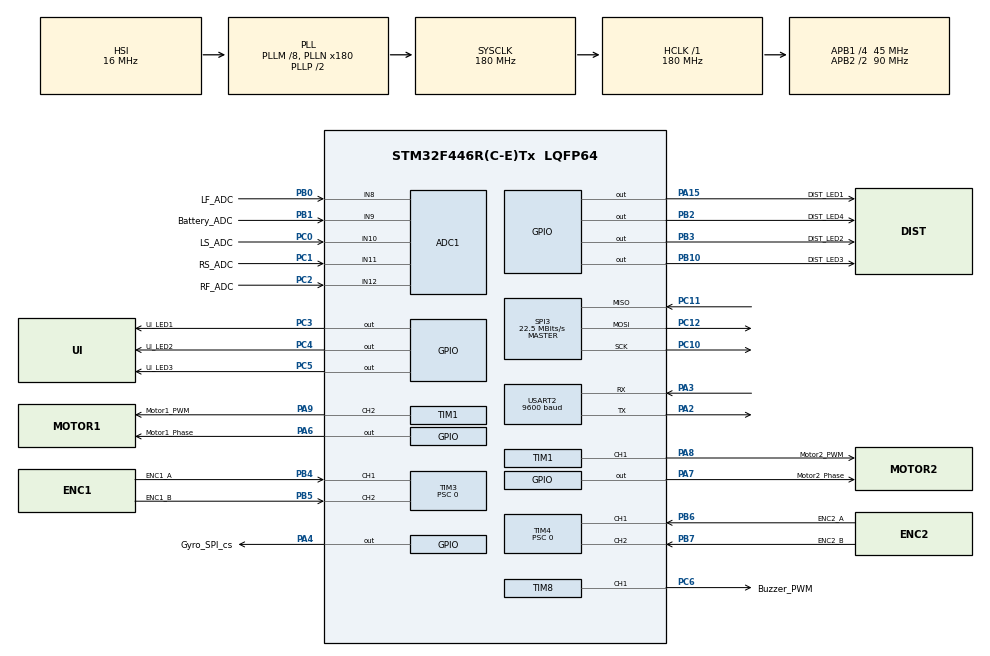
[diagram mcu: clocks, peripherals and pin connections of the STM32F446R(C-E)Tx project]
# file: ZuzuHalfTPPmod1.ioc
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ADC1.Channel-1\#ChannelRegularConversion=ADC_CHANNEL_8
ADC1.Channel-10\#ChannelRegularConversion=ADC_CHANNEL_10
ADC1.Channel-11\#ChannelRegularConversion=ADC_CHANNEL_11
ADC1.Channel-12\#ChannelRegularConversion=ADC_CHANNEL_12
ADC1.Channel-15\#ChannelRegularConversion=ADC_CHANNEL_9
ADC1.ClockPrescaler=ADC_CLOCK_SYNC_PCLK_DIV4
ADC1.ContinuousConvMode=ENABLE
ADC1.DMAContinuousRequests=ENABLE
ADC1.DiscontinuousConvMode=DISABLE
ADC1.EOCSelection=ADC_EOC_SEQ_CONV
ADC1.EnableAnalogWatchDog=false
ADC1.ExternalTrigConv=ADC_SOFTWARE_START
ADC1.InjNumberOfConversion=0
ADC1.NbrOfConversion=5
ADC1.NbrOfConversionFlag=1
ADC1.Rank-1\#ChannelRegularConversion=1
ADC1.Rank-10\#ChannelRegularConversion=2
ADC1.Rank-11\#ChannelRegularConversion=3
ADC1.Rank-12\#ChannelRegularConversion=4
ADC1.Rank-15\#ChannelRegularConversion=5
ADC1.SamplingTime-1\#ChannelRegularConversion=ADC_SAMPLETIME_15CYCLES
ADC1.SamplingTime-10\#ChannelRegularConversion=ADC_SAMPLETIME_15CYCLES
ADC1.SamplingTime-11\#ChannelRegularConversion=ADC_SAMPLETIME_15CYCLES
ADC1.SamplingTime-12\#ChannelRegularConversion=ADC_SAMPLETIME_15CYCLES
ADC1.SamplingTime-15\#ChannelRegularConversion=ADC_SAMPLETIME_15CYCLES
ADC1.ScanConvMode=ENABLE
ADC1.master=1
Dma.ADC1.0.Direction=DMA_PERIPH_TO_MEMORY
Dma.ADC1.0.FIFOMode=DMA_FIFOMODE_DISABLE
Dma.ADC1.0.Instance=DMA2_Stream0
Dma.ADC1.0.MemDataAlignment=DMA_MDATAALIGN_HALFWORD
Dma.ADC1.0.MemInc=DMA_MINC_ENABLE
Dma.ADC1.0.Mode=DMA_CIRCULAR
Dma.ADC1.0.PeriphDataAlignment=DMA_PDATAALIGN_HALFWORD
Dma.ADC1.0.PeriphInc=DMA_PINC_DISABLE
Dma.ADC1.0.Priority=DMA_PRIORITY_MEDIUM
Dma.Request0=ADC1
Dma.Request1=SPI3_RX
Dma.SPI3_RX.1.Direction=DMA_PERIPH_TO_MEMORY
Dma.SPI3_RX.1.FIFOMode=DMA_FIFOMODE_DISABLE
Dma.SPI3_RX.1.Instance=DMA1_Stream0
Dma.SPI3_RX.1.MemDataAlignment=DMA_MDATAALIGN_BYTE
Dma.SPI3_RX.1.MemInc=DMA_MINC_ENABLE
Dma.SPI3_RX.1.Mode=DMA_NORMAL
Dma.SPI3_RX.1.PeriphDataAlignment=DMA_PDATAALIGN_BYTE
Dma.SPI3_RX.1.PeriphInc=DMA_PINC_DISABLE
Dma.SPI3_RX.1.Priority=DMA_PRIORITY_LOW
Mcu.Family=STM32F4
Mcu.Name=STM32F446R(C-E)Tx
Mcu.Package=LQFP64
NVIC.ADC_IRQn=true\:0\:0\:false\:false\:true\:true\:true
NVIC.DMA1_Stream0_IRQn=true\:0\:0\:false\:false\:true\:false\:true
NVIC.DMA2_Stream0_IRQn=true\:0\:0\:false\:false\:true\:false\:true
NVIC.PriorityGroup=NVIC_PRIORITYGROUP_4
NVIC.SPI3_IRQn=true\:0\:0\:false\:false\:true\:true\:true
NVIC.TIM1_BRK_TIM9_IRQn=true\:0\:0\:false\:false\:true\:true\:true
NVIC.TIM1_CC_IRQn=true\:0\:0\:false\:false\:true\:true\:true
NVIC.TIM1_TRG_COM_TIM11_IRQn=true\:0\:0\:false\:false\:true\:true\:true
NVIC.TIM1_UP_TIM10_IRQn=true\:0\:0\:false\:false\:true\:true\:true
NVIC.TIM6_DAC_IRQn=true\:0\:0\:false\:false\:true\:true\:true
NVIC.TIM7_IRQn=true\:0\:0\:false\:false\:true\:true\:true
NVIC.TIM8_UP_TIM13_IRQn=true\:0\:0\:false\:false\:true\:true\:true
NVIC.USART2_IRQn=true\:0\:0\:false\:false\:true\:true\:true
PA13.Signal=SYS_JTMS-SWDIO
PA14.Signal=SYS_JTCK-SWCLK
PA15.GPIO_Label=DIST_LED1
PA15.Signal=GPIO_Output
PA2.GPIO_Speed=GPIO_SPEED_FREQ_VERY_HIGH
PA2.Mode=Asynchronous
PA2.Signal=USART2_TX
PA3.GPIO_Speed=GPIO_SPEED_FREQ_VERY_HIGH
PA3.Mode=Asynchronous
PA3.Signal=USART2_RX
PA4.GPIO_Label=Gyro_SPI_cs
PA4.Signal=GPIO_Output
PA6.GPIO_Label=Motor1_Phase
PA6.GPIO_Speed=GPIO_SPEED_FREQ_LOW
PA6.Signal=GPIO_Output
PA7.GPIO_Label=Motor2_Phase
PA7.GPIO_Speed=GPIO_SPEED_FREQ_LOW
PA7.Signal=GPIO_Output
PA8.GPIO_Label=Motor2_PWM
PA8.GPIO_Speed=GPIO_SPEED_FREQ_VERY_HIGH
PA8.Signal=S_TIM1_CH1
PA9.GPIO_Label=Motor1_PWM
PA9.GPIO_Speed=GPIO_SPEED_FREQ_VERY_HIGH
PA9.Signal=S_TIM1_CH2
PB0.GPIO_Label=LF_ADC
PB0.GPIO_Mode=GPIO_MODE_ANALOG
PB0.Signal=ADCx_IN8
PB1.GPIO_Label=Battery_ADC
PB1.GPIO_Mode=GPIO_MODE_ANALOG
PB1.GPIO_PuPd=GPIO_NOPULL
PB1.Signal=ADCx_IN9
PB10.GPIO_Label=DIST_LED3
PB10.Signal=GPIO_Output
PB2.GPIO_Label=DIST_LED4
PB2.Signal=GPIO_Output
PB3.GPIO_Label=DIST_LED2
PB3.Signal=GPIO_Output
PB4.GPIO_Label=ENC1_A
PB4.Signal=S_TIM3_CH1
PB5.GPIO_Label=ENC1_B
PB5.Signal=S_TIM3_CH2
PB6.GPIO_Label=ENC2_A
PB6.Signal=S_TIM4_CH1
PB7.GPIO_Label=ENC2_B
PB7.Signal=S_TIM4_CH2
PC0.GPIO_Label=LS_ADC
PC0.GPIO_Mode=GPIO_MODE_ANALOG
PC0.Signal=ADCx_IN10
PC1.GPIO_Label=RS_ADC
PC1.GPIO_Mode=GPIO_MODE_ANALOG
PC1.Signal=ADCx_IN11
PC10.GPIO_Speed=GPIO_SPEED_FREQ_VERY_HIGH
PC10.Mode=Full_Duplex_Master
PC10.Signal=SPI3_SCK
PC11.GPIO_Speed=GPIO_SPEED_FREQ_VERY_HIGH
PC11.Mode=Full_Duplex_Master
PC11.Signal=SPI3_MISO
PC12.Mode=Full_Duplex_Master
PC12.Signal=SPI3_MOSI
PC2.GPIO_Label=RF_ADC
PC2.GPIO_Mode=GPIO_MODE_ANALOG
PC2.Signal=ADCx_IN12
PC3.GPIO_Label=UI_LED1
PC3.GPIO_Speed=GPIO_SPEED_FREQ_LOW
PC3.Signal=GPIO_Output
PC4.GPIO_Label=UI_LED2
PC4.GPIO_Speed=GPIO_SPEED_FREQ_LOW
PC4.Signal=GPIO_Output
PC5.GPIO_Label=UI_LED3
PC5.GPIO_PuPd=GPIO_NOPULL
PC5.GPIO_Speed=GPIO_SPEED_FREQ_LOW
PC5.PinState=GPIO_PIN_RESET
PC5.Signal=GPIO_Output
PC6.GPIO_Label=Buzzer_PWM
PC6.Signal=S_TIM8_CH1
ProjectManager.HeapSize=0x200
ProjectManager.StackSize=0x400
ProjectManager.TargetToolchain=STM32CubeIDE
RCC.AHBFreq_Value=180000000
RCC.APB1CLKDivider=RCC_HCLK_DIV4
RCC.APB1Freq_Value=45000000
RCC.APB1TimFreq_Value=90000000
RCC.APB2CLKDivider=RCC_HCLK_DIV2
RCC.APB2Freq_Value=90000000
RCC.APB2TimFreq_Value=180000000
RCC.CortexFreq_Value=180000000
RCC.HCLKFreq_Value=180000000
RCC.PLLM=8
RCC.PLLN=180
RCC.SYSCLKFreq_VALUE=180000000
RCC.SYSCLKSource=RCC_SYSCLKSOURCE_PLLCLK
RCC.USBFreq_Value=180000000
RCC.VCOOutputFreq_Value=360000000
SH.ADCx_IN10.0=ADC1_IN10,IN10
SH.ADCx_IN11.0=ADC1_IN11,IN11
SH.ADCx_IN12.0=ADC1_IN12,IN12
SH.ADCx_IN8.0=ADC1_IN8,IN8
SH.ADCx_IN9.0=ADC1_IN9,IN9
SH.S_TIM1_CH1.0=TIM1_CH1,PWM Generation1 CH1
SH.S_TIM1_CH2.0=TIM1_CH2,PWM Generation2 CH2
SH.S_TIM3_CH1.0=TIM3_CH1,Encoder_Interface
SH.S_TIM3_CH2.0=TIM3_CH2,Encoder_Interface
SH.S_TIM4_CH1.0=TIM4_CH1,Encoder_Interface
SH.S_TIM4_CH2.0=TIM4_CH2,Encoder_Interface
SH.S_TIM8_CH1.0=TIM8_CH1,PWM Generation1 CH1
SPI3.CLKPhase=SPI_PHASE_1EDGE
SPI3.CLKPolarity=SPI_POLARITY_HIGH
SPI3.CRCCalculation=SPI_CRCCALCULATION_DISABLE
SPI3.CalculateBaudRate=22.5 MBits/s
SPI3.Direction=SPI_DIRECTION_2LINES
SPI3.Mode=SPI_MODE_MASTER
SPI3.VirtualType=VM_MASTER
STMicroelectronics.X-CUBE-ALGOBUILD.1.2.0.LibraryCcDSPOoLibraryJjDSPOoLibrary=true
TIM1.AutoReloadPreload=TIM_AUTORELOAD_PRELOAD_ENABLE
TIM1.Channel-PWM\ Generation1\ CH1=TIM_CHANNEL_1
TIM1.Channel-PWM\ Generation2\ CH2=TIM_CHANNEL_2
TIM1.Period=1000-1
TIM1.Prescaler=3-1
TIM1.Pulse-PWM\ Generation1\ CH1=100
TIM1.Pulse-PWM\ Generation2\ CH2=100
TIM1.TIM_MasterOutputTrigger=TIM_TRGO_RESET
TIM2.AutoReloadPreload=TIM_AUTORELOAD_PRELOAD_ENABLE
TIM2.Prescaler=90-1
TIM3.AutoReloadPreload=TIM_AUTORELOAD_PRELOAD_ENABLE
TIM3.EncoderMode=TIM_ENCODERMODE_TI12
TIM3.Period=65535
TIM3.Prescaler=0
TIM3.TIM_MasterOutputTrigger=TIM_TRGO_UPDATE
TIM4.AutoReloadPreload=TIM_AUTORELOAD_PRELOAD_ENABLE
TIM4.EncoderMode=TIM_ENCODERMODE_TI12
TIM4.Period=65535
TIM4.Prescaler=0
TIM4.TIM_MasterOutputTrigger=TIM_TRGO_UPDATE
TIM6.AutoReloadPreload=TIM_AUTORELOAD_PRELOAD_ENABLE
TIM6.Period=2000-1
TIM6.Prescaler=90-1
TIM6.TIM_MasterOutputTrigger=TIM_TRGO_UPDATE
TIM7.AutoReloadPreload=TIM_AUTORELOAD_PRELOAD_ENABLE
TIM7.Period=10000-1
TIM7.Prescaler=90-1
TIM7.TIM_MasterOutputTrigger=TIM_TRGO_UPDATE
TIM8.AutoReloadPreload=TIM_AUTORELOAD_PRELOAD_ENABLE
TIM8.Channel-PWM\ Generation1\ CH1=TIM_CHANNEL_1
TIM8.Period=2-1
TIM8.Prescaler=22500-1
TIM8.Pulse-PWM\ Generation1\ CH1=1
TIM8.TIM_MasterOutputTrigger=TIM_TRGO_UPDATE
USART2.BaudRate=9600
USART2.Mode=MODE_TX_RX
USART2.Parity=PARITY_NONE
USART2.VirtualMode=VM_ASYNC
USART2.WordLength=WORDLENGTH_8B
VP_TIM1_VS_ClockSourceINT.Mode=Internal
VP_TIM2_VS_ClockSourceINT.Mode=Internal
VP_TIM6_VS_ClockSourceINT.Mode=Enable_Timer
VP_TIM7_VS_ClockSourceINT.Mode=Enable_Timer
VP_TIM8_VS_ClockSourceINT.Mode=Internal
board=custom

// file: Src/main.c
/* USER CODE BEGIN Header */
/**
  ******************************************************************************
  * @file           : main.c
  * @brief          : Main program body
  ******************************************************************************
  * @attention
  *
  * <h2><center>&copy; Copyright (c) 2021 STMicroelectronics.
  * All rights reserved.</center></h2>
  *
  * This software component is licensed by ST under BSD 3-Clause license,
  * the "License"; You may not use this file except in compliance with the
  * License. You may obtain a copy of the License at:
  *                        opensource.org/licenses/BSD-3-Clause
  *
  ******************************************************************************
  */
/* USER CODE END Header */
#include "main.h"
#include "adc.h"
#include "dma.h"
#include "spi.h"
#include "tim.h"
#include "usart.h"
#include "gpio.h"

void SystemClock_Config(void);
/* USER CODE BEGIN PFP */
int __io_putchar(int ch);
/* USER CODE END PFP */

/* USER CODE BEGIN 0 */

/**
  * @brief  The application entry point.
  * @retval int
  */

int main(){
    HAL_Init(); //< Setup HAL.
    SystemClock_Config();  //< Micro-controller startup functions
    MX_USART2_UART_Init(); //< Setup Uart.
    setbuf(stdout, NULL);  //< This is needed for printf().

    MX_DMA_Init();
    MX_GPIO_Init();
    MX_TIM1_Init();
    MX_TIM2_Init();
    MX_TIM3_Init();
    MX_TIM4_Init();
    MX_TIM6_Init();
    MX_TIM7_Init();
    MX_TIM8_Init();
    MX_USART2_UART_Init();
    MX_SPI3_Init();
    MX_ADC1_Init();

//    HAL_Delay(2000);
    machineSelectMode();
//    selfEncoder();
//    machineRun(2000.0f, 1000.0f);
//    selfMotorOutput();
//    machineRunAndStop(50.0f, 600.0f, 100.0f);
//    machineTurn(100.0f, 500.0f);
//    machineRunSpecifiedDistance(2000.0f, 1000.0f, 90.0f);
//    selfEncoder();
//    selfMotorOutput();
//    testBatteryConsole();

    while(1) {
    }

    return 0;
}
/* USER CODE END 0 */

void SystemClock_Config(void)
{
  RCC_OscInitTypeDef RCC_OscInitStruct = {0};
  RCC_ClkInitTypeDef RCC_ClkInitStruct = {0};

  /** Configure the main internal regulator output voltage
  */
  __HAL_RCC_PWR_CLK_ENABLE();
  __HAL_PWR_VOLTAGESCALING_CONFIG(PWR_REGULATOR_VOLTAGE_SCALE1);
  /** Initializes the RCC Oscillators according to the specified parameters
  * in the RCC_OscInitTypeDef structure.
  */
  RCC_OscInitStruct.OscillatorType = RCC_OSCILLATORTYPE_HSI;
  RCC_OscInitStruct.HSIState = RCC_HSI_ON;
  RCC_OscInitStruct.HSICalibrationValue = RCC_HSICALIBRATION_DEFAULT;
  RCC_OscInitStruct.PLL.PLLState = RCC_PLL_ON;
  RCC_OscInitStruct.PLL.PLLSource = RCC_PLLSOURCE_HSI;
  RCC_OscInitStruct.PLL.PLLM = 8;
  RCC_OscInitStruct.PLL.PLLN = 180;
  RCC_OscInitStruct.PLL.PLLP = RCC_PLLP_DIV2;
  RCC_OscInitStruct.PLL.PLLQ = 2;
  RCC_OscInitStruct.PLL.PLLR = 2;
  if (HAL_RCC_OscConfig(&RCC_OscInitStruct) != HAL_OK)
  {
    Error_Handler();
  }
  /** Activate the Over-Drive mode
  */
  if (HAL_PWREx_EnableOverDrive() != HAL_OK)
  {
    Error_Handler();
  }
  /** Initializes the CPU, AHB and APB buses clocks
  */
  RCC_ClkInitStruct.ClockType = RCC_CLOCKTYPE_HCLK|RCC_CLOCKTYPE_SYSCLK
                              |RCC_CLOCKTYPE_PCLK1|RCC_CLOCKTYPE_PCLK2;
  RCC_ClkInitStruct.SYSCLKSource = RCC_SYSCLKSOURCE_PLLCLK;
  RCC_ClkInitStruct.AHBCLKDivider = RCC_SYSCLK_DIV1;
  RCC_ClkInitStruct.APB1CLKDivider = RCC_HCLK_DIV4;
  RCC_ClkInitStruct.APB2CLKDivider = RCC_HCLK_DIV2;

  if (HAL_RCC_ClockConfig(&RCC_ClkInitStruct, FLASH_LATENCY_5) != HAL_OK)
  {
    Error_Handler();
  }
}

/* USER CODE BEGIN 4 */
int __io_putchar(int ch) {
    HAL_UART_Transmit(&huart2, (uint8_t *)&ch, 1, 100);
    return ch;
}
/* USER CODE END 4 */

void Error_Handler(void)
{
  /* USER CODE BEGIN Error_Handler_Debug */
    /* User can add his own implementation to report the HAL error return state */
    __disable_irq();
    while (1)
    {
//        testBuzzer();
    }
  /* USER CODE END Error_Handler_Debug */
}

/************************ (C) COPYRIGHT STMicroelectronics *****END OF FILE****/
